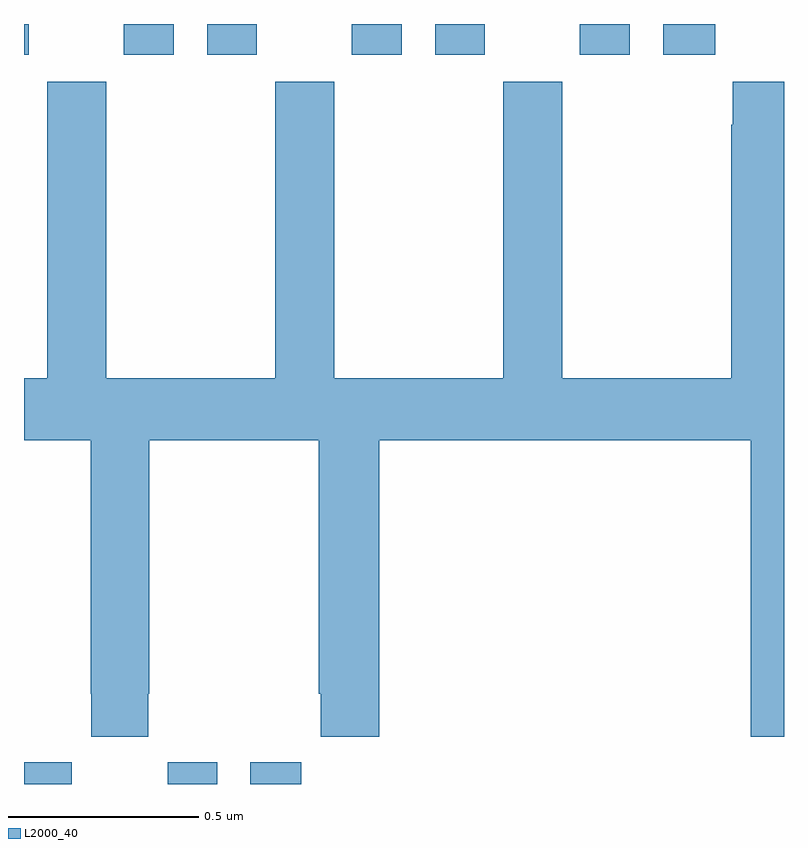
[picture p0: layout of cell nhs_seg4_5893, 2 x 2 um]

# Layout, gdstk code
import gdstk
lib = gdstk.Library(unit=1e-6, precision=1e-09)
def R(c, l, rs):  # rectangles x0, y0, x1, y1
    for r in rs: c.add(gdstk.rectangle(r[:2], r[2:], *l))
def P(c, l, *ps):  # polygons
    for p in ps: c.add(gdstk.Polygon(p, *l))
L2000_40 = (2000, 40)

nhs_seg4_5893 = lib.new_cell('nhs_seg4_5893')
R(nhs_seg4_5893, L2000_40, [(183,811.9,183.126,811.957), (183.378,811.9,183.508,811.957), (183.596,811.9,183.73,811.957), (183,813.819,183.013,813.9), (183.263,813.819,183.394,813.9), (183.482,813.819,183.613,813.9), (183.863,813.819,183.994,813.9), (184.082,813.819,184.213,813.9), (184.463,813.819,184.594,813.9), (184.682,813.819,184.819,813.9)])
P(nhs_seg4_5893, L2000_40, [(183.327,812.137),(183.33,812.137),(183.33,812.804),(183.775,812.804),(183.775,812.137),(183.781,812.137),(183.781,812.025),(183.935,812.025),(183.935,812.804),(184.913,812.804),(184.913,812.025),(185,812.025),(185,813.748),(184.865,813.748),(184.865,813.635),(184.861,813.635),(184.861,812.968),(184.416,812.968),(184.416,813.748),(184.261,813.748),(184.261,812.968),(183.816,812.968),(183.816,813.748),(183.661,813.748),(183.661,812.968),(183.216,812.968),(183.216,813.748),(183.061,813.748),(183.061,812.968),(183,812.968),(183,812.804),(183.175,812.804),(183.175,812.137),(183.177,812.137),(183.177,812.025),(183.327,812.025)])

lib.write_gds('nhs_seg4_5893.gds')
